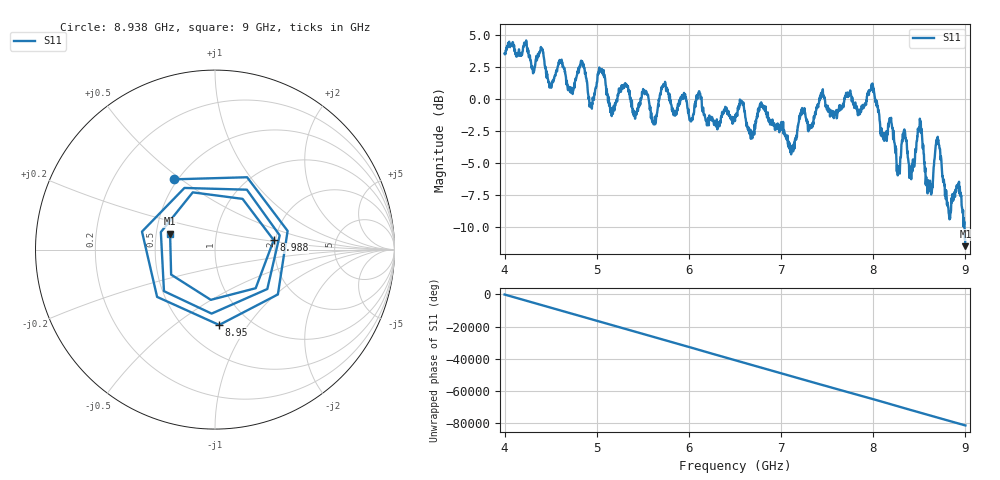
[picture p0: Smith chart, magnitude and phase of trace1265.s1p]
! Created with skrf 1.8.0 (http://scikit-rf.org).
# Hz S RI R 50.0
!freq ReS11 ImS11
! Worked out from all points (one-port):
!   1601 points, 4 GHz to 9 GHz, reference 50 ohm
!   lowest |S11| = -11.5 dB at 9 GHz (marker M1), VSWR 1.72, Z = 29.6 + j5.62 ohm
!   |S11| at or under -10 dB: 8.990393 GHz to end of sweep
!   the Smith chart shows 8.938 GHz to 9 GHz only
!   S11 on the Smith chart (normalised r, x): 8.938 GHz: 0.48, +0.47; 8.95 GHz: 0.73, -0.74; 8.988 GHz: 1.95, +0.23; 9 GHz: 0.59, +0.11
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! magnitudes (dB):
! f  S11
! 4 GHz  3.6
! 4.625 GHz  2.9
! 4.722 GHz  0.9
! 4.844 GHz  2.9
! 4.934 GHz  -0.5
! 5.034 GHz  2.2
! 5.159 GHz  -0.7
! 5.25 GHz  0.6
! 5.875 GHz  -0.9
! 6.5 GHz  -1.7
! 6.684 GHz  -2.9
! 6.794 GHz  -0.5
! 7.125 GHz  -3.8
! 7.234 GHz  -0.8
! 7.75 GHz  0.7
! 7.988 GHz  0.7
! 8.269 GHz  -5.5
! 8.331 GHz  -2.5
! 8.375 GHz  -4.6
! 8.428 GHz  -5.2
! 8.506 GHz  -1.5
! 8.606 GHz  -6.7
! 8.7 GHz  -3.0
! 8.819 GHz  -8.9
! 8.938 GHz  -6.9
! 8.95 GHz  -7.5
! 8.988 GHz  -9.6
! 9 GHz  -11.5
